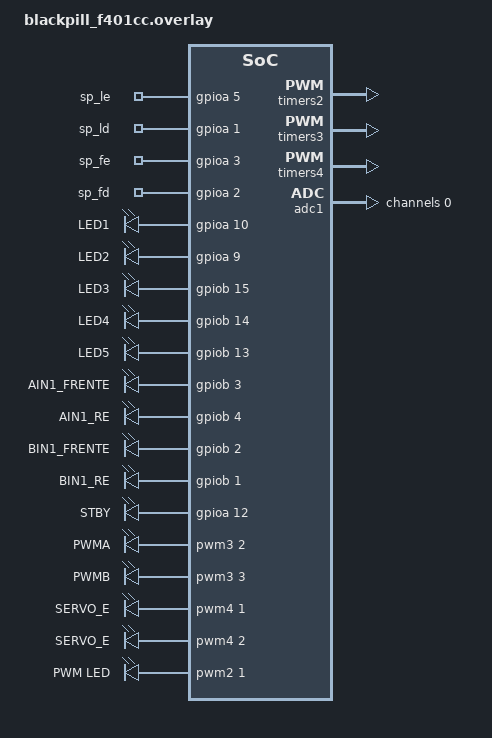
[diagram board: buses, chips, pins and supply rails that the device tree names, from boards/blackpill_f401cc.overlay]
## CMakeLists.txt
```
# SPDX-License-Identifier: Apache-2.0
cmake_minimum_required(VERSION 3.20.0)
set(CMAKE_EXPORT_COMPILE_COMMANDS ON)
set(BOARD blackpill_f401cc)
find_package(Zephyr REQUIRED HINTS $ENV{ZEPHYR_BASE})
project(sumo_zephyr)

target_sources(app PRIVATE
    src/main.c
)
```

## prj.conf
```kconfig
CONFIG_GPIO=y
CONFIG_DEBUG=y
CONFIG_ADC=y
CONFIG_PWM=y
CONFIG_SERIAL=y
CONFIG_CONSOLE=y
CONFIG_PRINTK=y
CONFIG_UART_CONSOLE=y
CONFIG_USE_SEGGER_RTT=y
CONFIG_PRINTK=y
CONFIG_LOG=y
CONFIG_EVENTS=y
```

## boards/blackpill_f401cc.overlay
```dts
/* SPDX-License-Identifier: Apache-2.0 */
#include <zephyr/dt-bindings/gpio/gpio.h>
#include <zephyr/dt-bindings/pinctrl/stm32-pinctrl.h>
/ {
    gpio_keys {
        compatible = "gpio-keys";
        status = "okay";

        sp_le: sp_le {
            gpios = <&gpioa 5 (GPIO_PULL_DOWN | GPIO_ACTIVE_HIGH)>;
            label = "sp_le";
        };
        sp_ld: sp_ld {
            gpios = <&gpioa 1 (GPIO_PULL_DOWN | GPIO_ACTIVE_HIGH)>;
            label = "sp_ld";
        };
        sp_fe: sp_fe {
            gpios = <&gpioa 3 GPIO_ACTIVE_HIGH>;
            label = "sp_fe";
        };
        sp_fd: sp_fd {
            gpios = <&gpioa 2 GPIO_ACTIVE_HIGH>;
            label = "sp_fd";
        };
    };
    gpio_leds{
        compatible = "gpio-leds";
        status = "okay";

        led_1: led_1 {
            gpios = <&gpioa 10 GPIO_ACTIVE_HIGH>;
            label = "LED1";
        };
        led_2: led_2 {
            gpios = <&gpioa 9 GPIO_ACTIVE_HIGH>;
            label = "LED2";
        };
        led_3: led_3 {
            gpios = <&gpiob 15 GPIO_ACTIVE_HIGH>;
            label = "LED3";
        };
        led_4: led_4 {
            gpios = <&gpiob 14 GPIO_ACTIVE_HIGH>;
            label = "LED4";
        };
        led_5: led_5 {
            gpios = <&gpiob 13 GPIO_ACTIVE_HIGH>;
            label = "LED5";
        };
    };

    tb6612fng{
        compatible = "gpio-leds";
        status = "okay";

        /* Motor A */
        ain1_frente: ain1_frente {
            gpios = <&gpiob 3 GPIO_ACTIVE_HIGH>;
            label = "AIN1_FRENTE";
        };
        ain1_re: ain1_re {
            gpios = <&gpiob 4 GPIO_ACTIVE_HIGH>;
            label = "AIN1_RE";
        };

        /* Motor B */   
        bin1_frente: bin1_frente {
            gpios = <&gpiob 2 GPIO_ACTIVE_HIGH>;
            label = "BIN1_FRENTE";
        };
        bin1_re: bin1_e {
            gpios = <&gpiob 1 GPIO_ACTIVE_HIGH>;
            label = "BIN1_RE";
        };

        /* Standby */
        stby: stby {
            gpios = <&gpioa 12 GPIO_ACTIVE_HIGH>;
            label = "STBY";
        };
    };

    pwmleds {
        compatible = "pwm-leds";
        pwm_a: pwm_a {
            pwms = <&pwm3 2 PWM_USEC(250) PWM_POLARITY_NORMAL>;
            label = "PWMA";
        };
        pwm_b: pwm_b {
            pwms = <&pwm3 3 PWM_USEC(250) PWM_POLARITY_NORMAL>;
            label = "PWMB";
        };
        servo_e: servo_e {
            pwms = <&pwm4 1 PWM_USEC(250) PWM_POLARITY_NORMAL>;
            label = "SERVO_E";
        };
        servo_d: servo_d {
            pwms = <&pwm4 2 PWM_MSEC(20) PWM_POLARITY_NORMAL>;
            label = "SERVO_E";
        };
        pwm_led0: pwm_led_0 {
            pwms = <&pwm2 1 PWM_MSEC(20) PWM_POLARITY_NORMAL>;
            label = "PWM LED";
        };
    };
    aliases {
        //PWMS
        pwm-led0 = &pwm_led0;
        pwm-a = &pwm_a;
        pwm-b = &pwm_b;
        servo-e = &servo_e;
        servo-d = &servo_d;

        
        //sensores de presenca
        sp-le = &sp_le;
        sp-ld = &sp_ld;
        sp-fe = &sp_fe;
        sp-fd = &sp_fd;

        //leds
        led1 = &led_1;
        led2 = &led_2;
        led3 = &led_3;
        led4 = &led_4;
        led5 = &led_5;

        //PONTE h
        ain1-frente = &ain1_frente;
        ain1-re = &ain1_re;
        bin1-frente = &bin1_frente;
        bin1-re = &bin1_re;
        stby = &stby;
    };
};

&timers2 {
  status = "okay";
  
  pwm2: pwm {
        status = "okay";
        pinctrl-0 = <&tim2_ch1_pa0>;
        pinctrl-names = "default";
    };
};

/* Timer 3 - PWM para motores DC */
&timers3 {
    status = "okay";
    pwm3: pwm {
        status = "okay";
        pinctrl-0 = <&tim3_ch2_pb5 &tim3_ch3_pb0>;
        pinctrl-names = "default";
    };
};

/* Timer 4 - PWM para servos */
&timers4 {
    status = "okay";
    
    pwm4: pwm {
        status = "okay";
        pinctrl-0 = <&tim4_ch1_pb6 &tim4_ch2_pb7>;
        pinctrl-names = "default";
    };
};


/* Pinctrl configurations */
&pinctrl {
    tim2_ch1_pa0: tim2_ch1_pa0 {
        pinmux = <STM32_PINMUX('A', 0, AF1)>;
    };
    /* Timer 3 PWM - Motores */
    tim3_ch2_pb5: tim3_ch2_pb5 {//PWMA
        pinmux = <STM32_PINMUX('B', 5, AF2)>;
    };
    
    tim3_ch3_pb0: tim3_ch3_pb0 {//PWMB
        pinmux = <STM32_PINMUX('B', 0, AF2)>;
    };
    
    /* Timer 4 PWM - Servos */
    tim4_ch1_pb6: tim4_ch1_pb6 {//flag_e
        pinmux = <STM32_PINMUX('B', 6, AF2)>;
    };
    
    tim4_ch2_pb7: tim4_ch2_pb7 {//flag_d
        pinmux = <STM32_PINMUX('B', 7, AF2)>;
    };
};
&adc1 {
    status = "okay";
    #address-cells = <1>;
    #size-cells = <0>;
    
    channel@0 {
        reg = <0>;
        zephyr,gain = "ADC_GAIN_1";
        zephyr,reference = "ADC_REF_INTERNAL";
        zephyr,acquisition-time = <ADC_ACQ_TIME_DEFAULT>;
        zephyr,resolution = <12>;
    };
};
```

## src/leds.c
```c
#include "leds.h"
#include "sensors.h"

#include <zephyr/kernel.h>
#include <zephyr/drivers/gpio.h>

/* =========================
 * Devicetree
 * ========================= */
#define LED1_NODE DT_ALIAS(led1)
#define LED2_NODE DT_ALIAS(led2)
#define LED3_NODE DT_ALIAS(led3)
#define LED4_NODE DT_ALIAS(led4)
#define LED5_NODE DT_ALIAS(led5)

static const struct gpio_dt_spec led1 = GPIO_DT_SPEC_GET(LED1_NODE, gpios);
static const struct gpio_dt_spec led2 = GPIO_DT_SPEC_GET(LED2_NODE, gpios);
static const struct gpio_dt_spec led3 = GPIO_DT_SPEC_GET(LED3_NODE, gpios);
static const struct gpio_dt_spec led4 = GPIO_DT_SPEC_GET(LED4_NODE, gpios);
static const struct gpio_dt_spec led5 = GPIO_DT_SPEC_GET(LED5_NODE, gpios);

/* =========================
 * Blink thread
 * ========================= */
void blink_thread(void)
{
    while (1) {
        gpio_pin_toggle_dt(&led1);
        k_sleep(K_MSEC(500));
    }
}

K_THREAD_DEFINE(blink_tid, 512,
                blink_thread, NULL, NULL, NULL,
                5, 0, 0);

/* =========================
 * Sensor LED thread
 * ========================= */
void leds_thread(void)
{
    while (1) {
        uint32_t ev = k_event_wait(&sensor_events,
            EVT_SP_FE | EVT_SP_FD | EVT_SP_LE | EVT_SP_LD,
            true, K_FOREVER);

        if (ev & EVT_SP_FE) gpio_pin_set_dt(&led2, 1);
        else gpio_pin_set_dt(&led2, 0);

        if (ev & EVT_SP_FD) gpio_pin_set_dt(&led3, 1);
        else gpio_pin_set_dt(&led3, 0);

        if (ev & EVT_SP_LE) gpio_pin_set_dt(&led4, 1);
        else gpio_pin_set_dt(&led4, 0);

        if (ev & EVT_SP_LD) gpio_pin_set_dt(&led5, 1);
        else gpio_pin_set_dt(&led5, 0);

    }
}

K_THREAD_DEFINE(leds_tid, 768,
                leds_thread, NULL, NULL, NULL,
                6, 0, 0);

/* =========================
 * Init
 * ========================= */
void leds_init(void)
{
    gpio_pin_configure_dt(&led1, GPIO_OUTPUT_INACTIVE);
    gpio_pin_configure_dt(&led2, GPIO_OUTPUT_INACTIVE);
    gpio_pin_configure_dt(&led3, GPIO_OUTPUT_INACTIVE);
    gpio_pin_configure_dt(&led4, GPIO_OUTPUT_INACTIVE);
    gpio_pin_configure_dt(&led5, GPIO_OUTPUT_INACTIVE);
}
```

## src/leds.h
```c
#pragma once
void leds_init(void);
```

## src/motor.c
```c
#include "motor.h"
#include "sensors.h"

#include <zephyr/kernel.h>
#include <zephyr/drivers/gpio.h>
#include <zephyr/drivers/pwm.h>

/* =========================
 * Devicetree
 * ========================= */
#define AIN_F_NODE DT_ALIAS(ain1_frente)
#define AIN_R_NODE DT_ALIAS(ain1_re)
#define BIN_F_NODE DT_ALIAS(bin1_frente)
#define BIN_R_NODE DT_ALIAS(bin1_re)
#define STBY_NODE  DT_ALIAS(stby)

#define PWMA_NODE  DT_ALIAS(pwm_a)
#define PWMB_NODE  DT_ALIAS(pwm_b)

static const struct gpio_dt_spec ain_f = GPIO_DT_SPEC_GET(AIN_F_NODE, gpios);
static const struct gpio_dt_spec ain_r = GPIO_DT_SPEC_GET(AIN_R_NODE, gpios);
static const struct gpio_dt_spec bin_f = GPIO_DT_SPEC_GET(BIN_F_NODE, gpios);
static const struct gpio_dt_spec bin_r = GPIO_DT_SPEC_GET(BIN_R_NODE, gpios);
static const struct gpio_dt_spec stby  = GPIO_DT_SPEC_GET(STBY_NODE, gpios);

static const struct pwm_dt_spec pwma = PWM_DT_SPEC_GET(PWMA_NODE);
static const struct pwm_dt_spec pwmb = PWM_DT_SPEC_GET(PWMB_NODE);

/* =========================
 * Motor thread
 * ========================= */
void motor_thread(void)
{
    while (1) {
        uint32_t ev = k_event_wait(&sensor_events,
            EVT_SP_FE | EVT_SP_FD | EVT_SP_LE | EVT_SP_LD,
            true, K_FOREVER);

        /* Exemplo simples */
        if ((ev & EVT_SP_FE) && (ev & EVT_SP_FD)) {
            gpio_pin_set_dt(&ain_f, 1);
            gpio_pin_set_dt(&ain_r, 0);
            gpio_pin_set_dt(&bin_f, 1);
            gpio_pin_set_dt(&bin_r, 0);
        } else {
            gpio_pin_set_dt(&ain_f, 0);
            gpio_pin_set_dt(&ain_r, 0);
            gpio_pin_set_dt(&bin_f, 0);
            gpio_pin_set_dt(&bin_r, 0);
        }

        if (ev & EVT_SP_LE) {
            gpio_pin_set_dt(&bin_f, 1);
            gpio_pin_set_dt(&bin_r, 0);
            gpio_pin_set_dt(&ain_r, 1);
            gpio_pin_set_dt(&ain_f, 0);
        } else {
            gpio_pin_set_dt(&ain_f, 0);
            gpio_pin_set_dt(&ain_r, 0);
            gpio_pin_set_dt(&bin_f, 0);
            gpio_pin_set_dt(&bin_r, 0);
        }

        if (ev & EVT_SP_LD) {
            gpio_pin_set_dt(&bin_f, 0);
            gpio_pin_set_dt(&bin_r, 1);
            gpio_pin_set_dt(&ain_r, 0);
            gpio_pin_set_dt(&ain_f, 1);
        } else {
            gpio_pin_set_dt(&ain_f, 0);
            gpio_pin_set_dt(&ain_r, 0);
            gpio_pin_set_dt(&bin_f, 0);
            gpio_pin_set_dt(&bin_r, 0);
        }
    }
}

K_THREAD_DEFINE(motor_tid, 1024,
                motor_thread, NULL, NULL, NULL,
                4, 0, 0);

/* =========================
 * Init
 * ========================= */
void motor_init(void)
{
    gpio_pin_configure_dt(&ain_f, GPIO_OUTPUT_INACTIVE);
    gpio_pin_configure_dt(&ain_r, GPIO_OUTPUT_INACTIVE);
    gpio_pin_configure_dt(&bin_f, GPIO_OUTPUT_INACTIVE);
    gpio_pin_configure_dt(&bin_r, GPIO_OUTPUT_INACTIVE);
    gpio_pin_configure_dt(&stby,  GPIO_OUTPUT_ACTIVE);

    pwm_set_dt(&pwma, PWM_USEC(250), PWM_USEC(125));
    pwm_set_dt(&pwmb, PWM_USEC(250), PWM_USEC(125));
}
```

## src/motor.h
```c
#pragma once
void motor_init(void);
```

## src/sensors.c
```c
#include "sensors.h"

#include <zephyr/device.h>
#include <zephyr/drivers/gpio.h>
#include <zephyr/sys/util.h>

/* =========================
 * Event group
 * ========================= */
struct k_event sensor_events;

/* =========================
 * Devicetree
 * ========================= */
#define SP_FE_NODE DT_ALIAS(sp_fe)
#define SP_FD_NODE DT_ALIAS(sp_fd)
#define SP_LE_NODE DT_ALIAS(sp_le)
#define SP_LD_NODE DT_ALIAS(sp_ld)

BUILD_ASSERT(DT_NODE_HAS_STATUS(SP_FE_NODE, okay));
BUILD_ASSERT(DT_NODE_HAS_STATUS(SP_FD_NODE, okay));
BUILD_ASSERT(DT_NODE_HAS_STATUS(SP_LE_NODE, okay));
BUILD_ASSERT(DT_NODE_HAS_STATUS(SP_LD_NODE, okay));

/* =========================
 * GPIO specs
 * ========================= */
static const struct gpio_dt_spec sp_fe = GPIO_DT_SPEC_GET(SP_FE_NODE, gpios);
static const struct gpio_dt_spec sp_fd = GPIO_DT_SPEC_GET(SP_FD_NODE, gpios);
static const struct gpio_dt_spec sp_le = GPIO_DT_SPEC_GET(SP_LE_NODE, gpios);
static const struct gpio_dt_spec sp_ld = GPIO_DT_SPEC_GET(SP_LD_NODE, gpios);

/* =========================
 * Callbacks
 * ========================= */
static struct gpio_callback cb_sp_fe;
static struct gpio_callback cb_sp_fd;
static struct gpio_callback cb_sp_le;
static struct gpio_callback cb_sp_ld;

/* =========================
 * ISR
 * ========================= */
static void sensor_isr(const struct device *dev,
                       struct gpio_callback *cb,
                       uint32_t pins)
{
    if (cb == &cb_sp_fe) {
        k_event_set(&sensor_events, EVT_SP_FE);
    } else if (cb == &cb_sp_fd) {
        k_event_set(&sensor_events, EVT_SP_FD);
    } else if (cb == &cb_sp_le) {
        k_event_set(&sensor_events, EVT_SP_LE);
    } else if (cb == &cb_sp_ld) {
        k_event_set(&sensor_events, EVT_SP_LD);
    }
}

/* =========================
 * Init
 * ========================= */
void sensors_init(void)
{
    k_event_init(&sensor_events);

    gpio_pin_configure_dt(&sp_fe, GPIO_INPUT);
    gpio_pin_configure_dt(&sp_fd, GPIO_INPUT);
    gpio_pin_configure_dt(&sp_le, GPIO_INPUT);
    gpio_pin_configure_dt(&sp_ld, GPIO_INPUT);

    gpio_pin_interrupt_configure_dt(&sp_fe, GPIO_INT_EDGE_BOTH);
    gpio_pin_interrupt_configure_dt(&sp_fd, GPIO_INT_EDGE_BOTH);
    gpio_pin_interrupt_configure_dt(&sp_le, GPIO_INT_EDGE_BOTH);
    gpio_pin_interrupt_configure_dt(&sp_ld, GPIO_INT_EDGE_BOTH);

    gpio_init_callback(&cb_sp_fe, sensor_isr, BIT(sp_fe.pin));
    gpio_init_callback(&cb_sp_fd, sensor_isr, BIT(sp_fd.pin));
    gpio_init_callback(&cb_sp_le, sensor_isr, BIT(sp_le.pin));
    gpio_init_callback(&cb_sp_ld, sensor_isr, BIT(sp_ld.pin));

    gpio_add_callback(sp_fe.port, &cb_sp_fe);
    gpio_add_callback(sp_fd.port, &cb_sp_fd);
    gpio_add_callback(sp_le.port, &cb_sp_le);
    gpio_add_callback(sp_ld.port, &cb_sp_ld);
}
```

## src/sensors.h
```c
#pragma once
#include <zephyr/kernel.h>

/* Eventos dos sensores */
#define EVT_SP_FE BIT(0)
#define EVT_SP_FD BIT(1)
#define EVT_SP_LE BIT(2)
#define EVT_SP_LD BIT(3)

/* Event group global */
extern struct k_event sensor_events;

void sensors_init(void);
```
